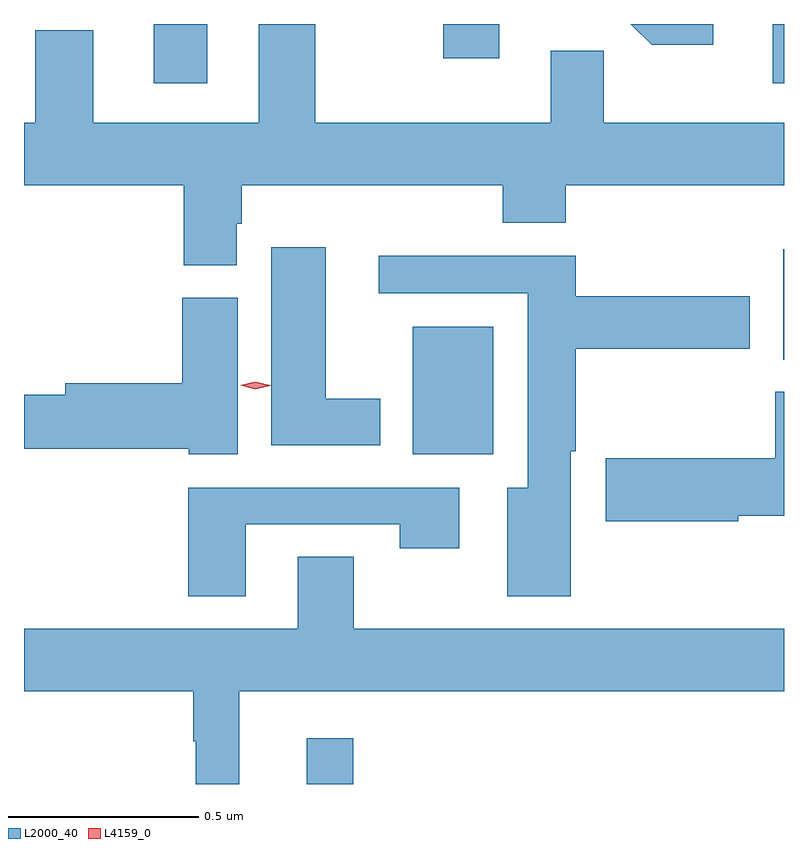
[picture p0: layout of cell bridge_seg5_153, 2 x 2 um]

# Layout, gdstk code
import gdstk
lib = gdstk.Library(unit=1e-6, precision=1e-09)
def R(c, l, rs):  # rectangles x0, y0, x1, y1
    for r in rs: c.add(gdstk.rectangle(r[:2], r[2:], *l))
def P(c, l, *ps):  # polygons
    for p in ps: c.add(gdstk.Polygon(p, *l))
L2000_40 = (2000, 40)
L4159_0 = (4159, 0)

bridge_seg5_153 = lib.new_cell('bridge_seg5_153')
R(bridge_seg5_153, L2000_40, [(154.355,909.796,154.477,909.916), (154.634,910.664,154.846,910.999), (155.609,910.913,155.611,911.203), (153.953,911.64,154.093,911.796), (155.582,911.64,155.611,911.796), (154.714,911.706,154.861,911.796)])
P(bridge_seg5_153, L2000_40, [(154.377,911.796),(154.229,911.796),(154.229,911.536),(153.793,911.536),(153.793,911.779),(153.641,911.779),(153.641,911.536),(153.611,911.536),(153.611,911.372),(154.031,911.372),(154.031,911.161),(154.171,911.161),(154.171,911.271),(154.184,911.271),(154.184,911.372),(154.871,911.372),(154.871,911.273),(155.036,911.273),(155.036,911.372),(155.611,911.372),(155.611,911.536),(155.136,911.536),(155.136,911.726),(154.997,911.726),(154.997,911.536),(154.377,911.536)],
  [(155.425,911.796),(155.208,911.796),(155.263,911.741),(155.425,911.741)],
  [(154.549,910.81),(154.405,910.81),(154.405,911.209),(154.262,911.209),(154.262,910.688),(154.549,910.688)],
  [(155.05,910.672),(155.063,910.672),(155.063,910.942),(155.521,910.942),(155.521,911.079),(155.063,911.079),(155.063,911.186),(154.545,911.186),(154.545,911.088),(154.937,911.088),(154.937,910.576),(154.883,910.576),(154.883,910.29),(155.05,910.29)],
  [(154.174,911.076),(154.028,911.076),(154.028,910.85),(153.719,910.85),(153.719,910.82),(153.611,910.82),(153.611,910.678),(154.044,910.678),(154.044,910.664),(154.174,910.664)],
  [(155.49,910.502),(155.611,910.502),(155.611,910.828),(155.588,910.828),(155.588,910.653),(155.142,910.653),(155.142,910.487),(155.49,910.487)],
  [(154.195,910.479),(154.6,910.479),(154.6,910.416),(154.756,910.416),(154.756,910.575),(154.043,910.575),(154.043,910.29),(154.195,910.29)],
  [(154.177,910.04),(155.611,910.04),(155.611,910.204),(154.479,910.204),(154.479,910.394),(154.331,910.394),(154.331,910.204),(153.611,910.204),(153.611,910.04),(154.056,910.04),(154.056,909.908),(154.063,909.908),(154.063,909.796),(154.177,909.796)])
P(bridge_seg5_153, L4159_0, [(154.219,910.835),(154.18,910.845),(154.179,910.845),(154.18,910.845),(154.219,910.855),(154.259,910.845),(154.259,910.844),(154.259,910.844)])

lib.write_gds('bridge_seg5_153.gds')
